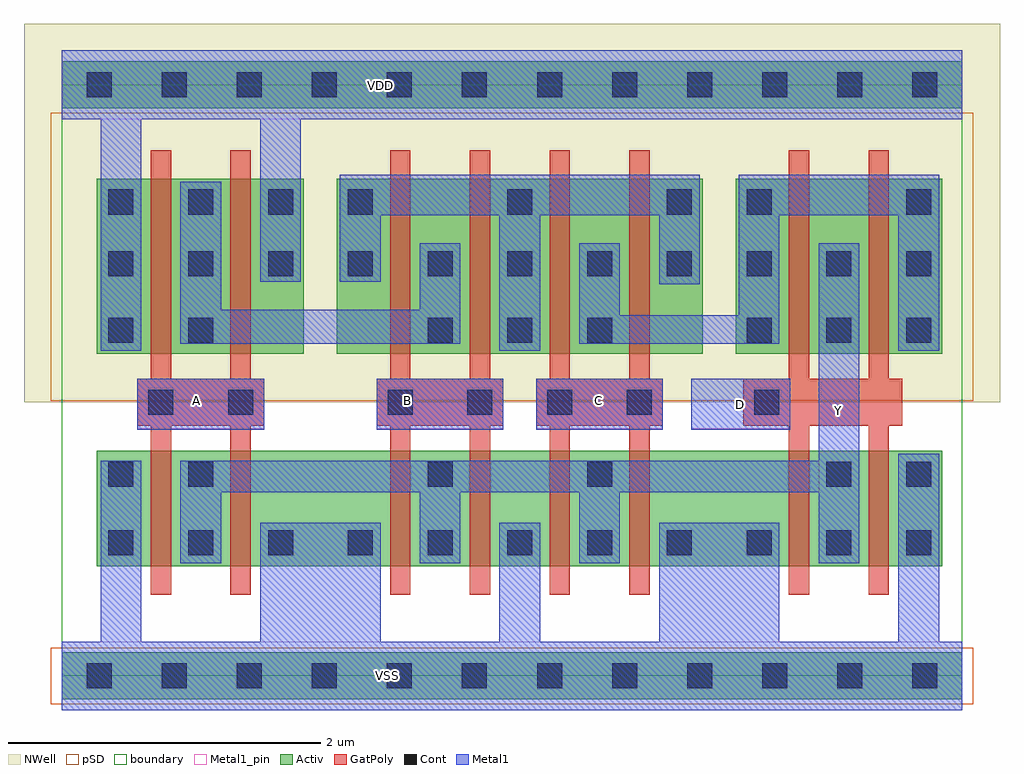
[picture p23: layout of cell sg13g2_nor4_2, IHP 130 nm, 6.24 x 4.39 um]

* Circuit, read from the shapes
.subckt sg13g2_nor4_2 A B C D VDD VSS Y
XM1 Y A VSS VSS sg13_lv_nmos w=0.74u l=0.13u m=2
XM2 Y B VSS VSS sg13_lv_nmos w=0.74u l=0.13u m=2
XM3 Y C VSS VSS sg13_lv_nmos w=0.74u l=0.13u m=2
XM4 Y D VSS VSS sg13_lv_nmos w=0.74u l=0.13u m=2
XM5 n1 A VDD VDD sg13_lv_pmos w=1.12u l=0.13u m=2
XM6 n1 B n2 VDD sg13_lv_pmos w=1.12u l=0.13u m=2
XM7 n3 C n2 VDD sg13_lv_pmos w=1.12u l=0.13u m=2
XM8 Y D n3 VDD sg13_lv_pmos w=1.12u l=0.13u m=2
.ends

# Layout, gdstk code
import gdstk
lib = gdstk.Library(unit=1e-6, precision=1e-09)
def R(c, l, rs):  # rectangles x0, y0, x1, y1
    for r in rs: c.add(gdstk.rectangle(r[:2], r[2:], *l))
def A(c, l, x, y, w, h, nx, ny, dx, dy):  # array of equal rectangles
    R(c, l, [(x+i*dx, y+j*dy, x+i*dx+w, y+j*dy+h) for i in range(nx) for j in range(ny)])
def P(c, l, *ps):  # polygons
    for p in ps: c.add(gdstk.Polygon(p, *l))
Activ = (1, 0)
GatPoly = (5, 0)
Cont = (6, 0)
Metal1 = (8, 0)
Metal1_pin = (8, 2)
pSD = (14, 0)
NWell = (31, 0)
boundary = (189, 4)

sg13g2_nor4_2 = lib.new_cell('sg13g2_nor4_2')
R(sg13g2_nor4_2, Activ, [(0,-0.15,5.76,0.15), (0.225,0.7,5.63,1.44), (0.225,2.06,1.55,3.18), (1.76,2.06,4.1,3.18), (4.31,2.06,5.63,3.18), (0,3.63,5.76,3.93)])
P(sg13g2_nor4_2, GatPoly, [(4.65,0.52),(4.65,1.6),(4.36,1.6),(4.36,1.9),(4.65,1.9),(4.65,3.36),(4.78,3.36),(4.78,1.9),(5.16,1.9),(5.16,3.36),(5.29,3.36),(5.29,1.9),(5.375,1.9),(5.375,1.6),(5.29,1.6),(5.29,0.52),(5.16,0.52),(5.16,1.6),(4.78,1.6),(4.78,0.52)],
  [(0.57,0.52),(0.57,1.6),(0.485,1.6),(0.485,1.9),(0.57,1.9),(0.57,3.36),(0.7,3.36),(0.7,1.9),(1.08,1.9),(1.08,3.36),(1.21,3.36),(1.21,1.9),(1.295,1.9),(1.295,1.6),(1.21,1.6),(1.21,0.52),(1.08,0.52),(1.08,1.6),(0.7,1.6),(0.7,0.52)],
  [(2.1,0.52),(2.1,1.6),(2.015,1.6),(2.015,1.9),(2.1,1.9),(2.1,3.36),(2.23,3.36),(2.23,1.9),(2.61,1.9),(2.61,3.36),(2.74,3.36),(2.74,1.9),(2.825,1.9),(2.825,1.6),(2.74,1.6),(2.74,0.52),(2.61,0.52),(2.61,1.6),(2.23,1.6),(2.23,0.52)],
  [(3.12,0.52),(3.12,1.6),(3.035,1.6),(3.035,1.9),(3.12,1.9),(3.12,3.36),(3.25,3.36),(3.25,1.9),(3.63,1.9),(3.63,3.36),(3.76,3.36),(3.76,1.9),(3.845,1.9),(3.845,1.6),(3.76,1.6),(3.76,0.52),(3.63,0.52),(3.63,1.6),(3.25,1.6),(3.25,0.52)])
A(sg13g2_nor4_2, Cont, 0.16, -0.08, 0.16, 0.16, 12, 2, 0.48, 3.78)
A(sg13g2_nor4_2, Cont, 0.3, 0.77, 0.16, 0.16, 11, 2, 0.51, 1.785)
A(sg13g2_nor4_2, Cont, 2.085, 1.67, 0.16, 0.16, 4, 1, 0.51, 0)
A(sg13g2_nor4_2, Cont, 2.34, 2.13, 0.16, 0.16, 3, 1, 0.51, 0)
A(sg13g2_nor4_2, Cont, 4.38, 2.13, 0.16, 0.16, 3, 1, 0.51, 0)
A(sg13g2_nor4_2, Cont, 0.3, 2.95, 0.16, 0.16, 4, 1, 0.51, 0)
R(sg13g2_nor4_2, Cont, [(0.3,1.21,0.46,1.37), (0.81,1.21,0.97,1.37), (2.34,1.21,2.5,1.37), (3.36,1.21,3.52,1.37), (4.89,1.21,5.05,1.37), (5.4,1.21,5.56,1.37), (0.555,1.67,0.715,1.83), (1.065,1.67,1.225,1.83), (4.43,1.67,4.59,1.83), (0.3,2.13,0.46,2.29), (0.81,2.13,0.97,2.29), (2.85,2.95,3.01,3.11), (3.87,2.95,4.03,3.11), (4.38,2.95,4.54,3.11), (5.4,2.95,5.56,3.11)])
R(sg13g2_nor4_2, Metal1, [(0.485,1.575,1.295,1.9), (2.015,1.575,2.825,1.9), (3.035,1.575,3.845,1.9), (4.025,1.575,4.66,1.9)])
P(sg13g2_nor4_2, Metal1, [(5.35,2.08),(5.35,2.945),(4.59,2.945),(4.59,2.125),(3.31,2.125),(3.31,2.765),(3.57,2.765),(3.57,2.305),(4.33,2.305),(4.33,3.205),(5.61,3.205),(5.61,2.08)],
  [(0.25,2.08),(0.25,3.56),(0,3.56),(0,4),(5.76,4),(5.76,3.56),(1.53,3.56),(1.53,2.52),(1.27,2.52),(1.27,3.56),(0.51,3.56),(0.51,2.08)],
  [(2.8,2.08),(2.8,2.945),(2.04,2.945),(2.04,2.52),(1.78,2.52),(1.78,3.205),(4.08,3.205),(4.08,2.505),(3.82,2.505),(3.82,2.945),(3.06,2.945),(3.06,2.08)],
  [(0,-0.22),(0,0.22),(0.25,0.22),(0.25,1.375),(0.51,1.375),(0.51,0.22),(1.27,0.22),(1.27,0.98),(2.04,0.98),(2.04,0.22),(2.8,0.22),(2.8,0.98),(3.06,0.98),(3.06,0.22),(3.82,0.22),(3.82,0.98),(4.59,0.98),(4.59,0.22),(5.35,0.22),(5.35,1.42),(5.61,1.42),(5.61,0.22),(5.76,0.22),(5.76,-0.22)],
  [(0.76,2.125),(0.76,3.16),(1.02,3.16),(1.02,2.34),(2.29,2.34),(2.29,2.765),(2.55,2.765),(2.55,2.125)],
  [(0.76,0.72),(0.76,1.375),(4.84,1.375),(4.84,2.765),(5.1,2.765),(5.1,0.72),(4.84,0.72),(4.84,1.175),(3.57,1.175),(3.57,0.72),(3.31,0.72),(3.31,1.175),(2.55,1.175),(2.55,0.72),(2.29,0.72),(2.29,1.175),(1.02,1.175),(1.02,0.72)])
R(sg13g2_nor4_2, Metal1_pin, [(0,-0.22,5.76,0.22), (4.84,0.72,5.1,2.765), (0.485,1.58,1.295,1.9), (2.015,1.58,2.825,1.9), (3.035,1.58,3.845,1.9), (4.025,1.58,4.66,1.9), (0,3.56,5.76,4)])
R(sg13g2_nor4_2, pSD, [(-0.07,-0.18,5.83,0.18), (-0.07,1.76,5.83,3.6)])
R(sg13g2_nor4_2, NWell, [(-0.24,1.75,6,4.17)])
R(sg13g2_nor4_2, boundary, [(0,0,5.76,3.78)])
sg13g2_nor4_2.add(gdstk.Label('C', (3.435,1.76), layer=8, texttype=25))
sg13g2_nor4_2.add(gdstk.Label('VSS', (2.085,0.005), layer=8, texttype=25))
sg13g2_nor4_2.add(gdstk.Label('A', (0.865,1.76), layer=8, texttype=25))
sg13g2_nor4_2.add(gdstk.Label('VDD', (2.04,3.775), layer=8, texttype=25))
sg13g2_nor4_2.add(gdstk.Label('D', (4.34,1.735), layer=8, texttype=25))
sg13g2_nor4_2.add(gdstk.Label('B', (2.21,1.76), layer=8, texttype=25))
sg13g2_nor4_2.add(gdstk.Label('Y', (4.965,1.695), layer=8, texttype=25))

lib.write_gds('sg13g2_nor4_2.gds')
